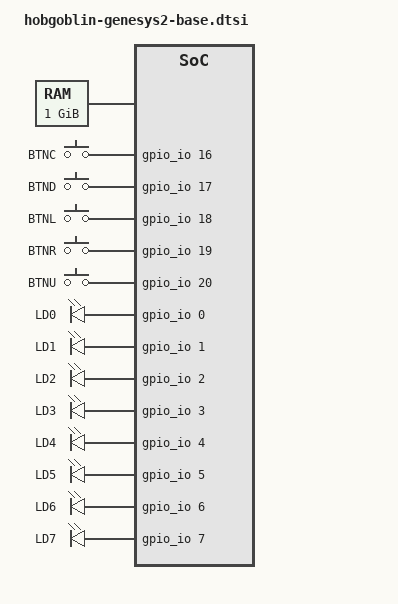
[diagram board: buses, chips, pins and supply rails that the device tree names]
// SPDX-License-Identifier: GPL-2.0
/*
 * Copyright (c) 2024 Codasip GmbH
 *
 * A730 Hobgoblin FPGA genesys2 base description. This dts includes all the
 * hardware that is dependent on the board itself. So things like DDR,
 * buttons, LEDS, etc go here. Components that are optional or configurable
 * will be described in the board dts itself. For example, the type of
 * Ethernet controller used is switchable, so that will not be included here.
 *
 */

#include "dt-bindings/input/input.h"

/ {
	ddr: memory@80000000 {
		device_type = "memory";
		reg = <0x0 0x80000000 0x0 0x40000000>;
	};

	gpio-keys {
		compatible = "gpio-keys";

		key-enter {
			label = "BTNC";
			linux,code = <KEY_ENTER>;
			gpios = <&gpio_io 16 GPIO_ACTIVE_HIGH>;
		};

		key-down {
			label = "BTND";
			linux,code = <KEY_DOWN>;
			gpios = <&gpio_io 17 GPIO_ACTIVE_HIGH>;
		};

		key-left {
			label = "BTNL";
			linux,code = <KEY_LEFT>;
			gpios = <&gpio_io 18 GPIO_ACTIVE_HIGH>;
		};

		key-right {
			label = "BTNR";
			linux,code = <KEY_RIGHT>;
			gpios = <&gpio_io 19 GPIO_ACTIVE_HIGH>;
		};

		key-up {
			label = "BTNU";
			linux,code = <KEY_UP>;
			gpios = <&gpio_io 20 GPIO_ACTIVE_HIGH>;
		};
	};

	leds {
		compatible = "gpio-leds";

		led-0 {
			label = "LD0";
			gpios = <&gpio_io 0 GPIO_ACTIVE_HIGH>;
			linux,default-trigger = "heartbeat";
		};

		led-1 {
			label = "LD1";
			gpios = <&gpio_io 1 GPIO_ACTIVE_HIGH>;
			linux,default-trigger = "mmc0";
		};

		led-2 {
			label = "LD2";
			gpios = <&gpio_io 2 GPIO_ACTIVE_HIGH>;
		};

		led-3 {
			label = "LD3";
			gpios = <&gpio_io 3 GPIO_ACTIVE_HIGH>;
		};

		led-4 {
			label = "LD4";
			gpios = <&gpio_io 4 GPIO_ACTIVE_HIGH>;
		};

		led-5 {
			label = "LD5";
			gpios = <&gpio_io 5 GPIO_ACTIVE_HIGH>;
		};

		led-6 {
			label = "LD6";
			gpios = <&gpio_io 6 GPIO_ACTIVE_HIGH>;
		};

		led-7 {
			label = "LD7";
			gpios = <&gpio_io 7 GPIO_ACTIVE_HIGH>;
		};
	};
};
